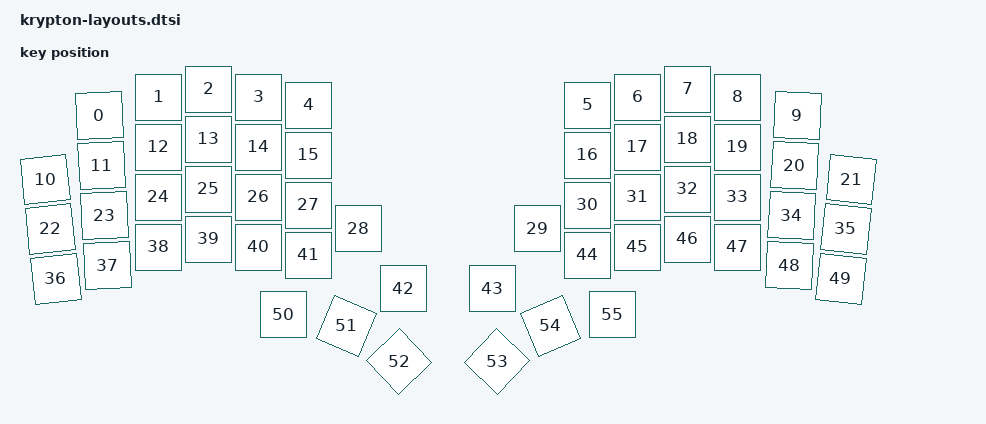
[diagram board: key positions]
#include <physical_layouts.dtsi>

/ {
    physical_layout0: physical_layout_0 {
        compatible = "zmk,physical-layout";
        display-name = "Default";

        kscan = <&kscan0>;
        transform = <&default_transform_0>;

        keys  //                     w   h    x    y     rot    rx    ry
            = <&key_physical_attrs 100 100  108   53  (-300)   158   103>
            , <&key_physical_attrs 100 100  227   16       0     0     0>
            , <&key_physical_attrs 100 100  327    0       0     0     0>
            , <&key_physical_attrs 100 100  427   16       0     0     0>
            , <&key_physical_attrs 100 100  527   32       0     0     0>
            , <&key_physical_attrs 100 100 1085   32       0     0     0>
            , <&key_physical_attrs 100 100 1185   16       0     0     0>
            , <&key_physical_attrs 100 100 1285    0       0     0     0>
            , <&key_physical_attrs 100 100 1385   16       0     0     0>
            , <&key_physical_attrs 100 100 1504   53     300  1554   103>
            , <&key_physical_attrs 100 100    0  181  (-600)    50   231>
            , <&key_physical_attrs 100 100  113  153  (-300)   163   203>
            , <&key_physical_attrs 100 100  227  116       0     0     0>
            , <&key_physical_attrs 100 100  327  100       0     0     0>
            , <&key_physical_attrs 100 100  427  116       0     0     0>
            , <&key_physical_attrs 100 100  527  132       0     0     0>
            , <&key_physical_attrs 100 100 1085  132       0     0     0>
            , <&key_physical_attrs 100 100 1185  116       0     0     0>
            , <&key_physical_attrs 100 100 1285  100       0     0     0>
            , <&key_physical_attrs 100 100 1385  116       0     0     0>
            , <&key_physical_attrs 100 100 1499  153     300  1549   203>
            , <&key_physical_attrs 100 100 1612  181     600  1662   231>
            , <&key_physical_attrs 100 100   10  280  (-600)    60   330>
            , <&key_physical_attrs 100 100  118  253  (-300)   168   303>
            , <&key_physical_attrs 100 100  227  216       0     0     0>
            , <&key_physical_attrs 100 100  327  200       0     0     0>
            , <&key_physical_attrs 100 100  427  216       0     0     0>
            , <&key_physical_attrs 100 100  527  232       0     0     0>
            , <&key_physical_attrs 100 100  627  279       0     0     0>
            , <&key_physical_attrs 100 100  985  279       0     0     0>
            , <&key_physical_attrs 100 100 1085  232       0     0     0>
            , <&key_physical_attrs 100 100 1185  216       0     0     0>
            , <&key_physical_attrs 100 100 1285  200       0     0     0>
            , <&key_physical_attrs 100 100 1385  216       0     0     0>
            , <&key_physical_attrs 100 100 1493  253     300  1543   303>
            , <&key_physical_attrs 100 100 1601  280     600  1651   330>
            , <&key_physical_attrs 100 100   21  380  (-600)    71   430>
            , <&key_physical_attrs 100 100  124  353  (-300)   174   403>
            , <&key_physical_attrs 100 100  227  316       0     0     0>
            , <&key_physical_attrs 100 100  327  300       0     0     0>
            , <&key_physical_attrs 100 100  427  316       0     0     0>
            , <&key_physical_attrs 100 100  527  332       0     0     0>
            , <&key_physical_attrs 100 100  717  399       0     0     0>
            , <&key_physical_attrs 100 100  895  399       0     0     0>
            , <&key_physical_attrs 100 100 1085  332       0     0     0>
            , <&key_physical_attrs 100 100 1185  316       0     0     0>
            , <&key_physical_attrs 100 100 1285  300       0     0     0>
            , <&key_physical_attrs 100 100 1385  316       0     0     0>
            , <&key_physical_attrs 100 100 1488  353     300  1538   403>
            , <&key_physical_attrs 100 100 1591  380     600  1641   430>
            , <&key_physical_attrs 100 100  477  451       0     0     0>
            , <&key_physical_attrs 100 100  602  474    2300   652   524>
            , <&key_physical_attrs 100 100  708  545 (-4400)   758   595>
            , <&key_physical_attrs 100 100  904  545    4400   954   595>
            , <&key_physical_attrs 100 100 1010  474 (-2300)  1060   524>
            , <&key_physical_attrs 100 100 1135  451       0     0     0>
            ;
    };
};
